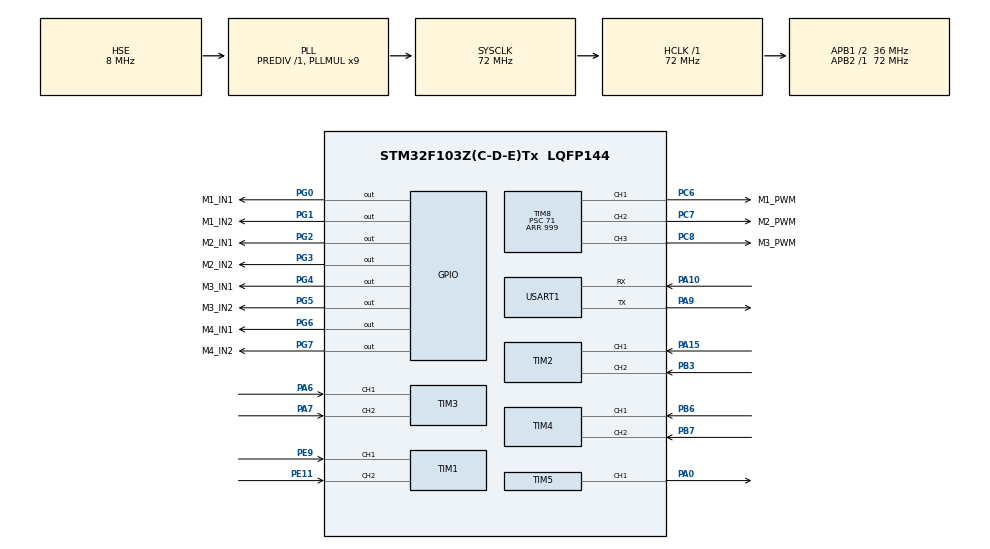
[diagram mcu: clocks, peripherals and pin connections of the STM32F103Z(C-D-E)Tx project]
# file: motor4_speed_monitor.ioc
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FREERTOS.Tasks01=defaultTask,24,128,StartDefaultTask,Default,NULL,Dynamic,NULL,NULL;MotorTask,32,256,StartMotorTask,Default,NULL,Dynamic,NULL,NULL;uartTask,8,256,StartUartTask,Default,NULL,Dynamic,NULL,NULL
Mcu.Family=STM32F1
Mcu.Name=STM32F103Z(C-D-E)Tx
Mcu.Package=LQFP144
NVIC.PriorityGroup=NVIC_PRIORITYGROUP_4
NVIC.TIM6_IRQn=true\:5\:0\:false\:false\:true\:true\:true\:true\:true
NVIC.TIM7_IRQn=true\:15\:0\:false\:false\:true\:false\:false\:true\:true
NVIC.TimeBase=TIM7_IRQn
NVIC.TimeBaseIP=TIM7
OSC_IN.Mode=HSE-External-Oscillator
OSC_IN.Signal=RCC_OSC_IN
OSC_OUT.Mode=HSE-External-Oscillator
OSC_OUT.Signal=RCC_OSC_OUT
PA0-WKUP.Signal=S_TIM5_CH1
PA10.Mode=Asynchronous
PA10.Signal=USART1_RX
PA13.Mode=Serial_Wire
PA13.Signal=SYS_JTMS-SWDIO
PA14.Mode=Serial_Wire
PA14.Signal=SYS_JTCK-SWCLK
PA15.Signal=S_TIM2_CH1_ETR
PA6.Signal=S_TIM3_CH1
PA7.Signal=S_TIM3_CH2
PA9.Mode=Asynchronous
PA9.Signal=USART1_TX
PB3.Signal=S_TIM2_CH2
PB6.Signal=S_TIM4_CH1
PB7.Signal=S_TIM4_CH2
PC14-OSC32_IN.Mode=LSE-External-Oscillator
PC14-OSC32_IN.Signal=RCC_OSC32_IN
PC15-OSC32_OUT.Mode=LSE-External-Oscillator
PC15-OSC32_OUT.Signal=RCC_OSC32_OUT
PC6.GPIO_Label=M1_PWM
PC6.GPIO_Speed=GPIO_SPEED_FREQ_HIGH
PC6.Signal=S_TIM8_CH1
PC7.GPIO_Label=M2_PWM
PC7.GPIO_Speed=GPIO_SPEED_FREQ_HIGH
PC7.Signal=S_TIM8_CH2
PC8.GPIO_Label=M3_PWM
PC8.GPIO_Speed=GPIO_SPEED_FREQ_HIGH
PC8.Signal=S_TIM8_CH3
PE11.Signal=S_TIM1_CH2
PE9.Signal=S_TIM1_CH1
PG0.GPIO_Label=M1_IN1
PG0.Signal=GPIO_Output
PG1.GPIO_Label=M1_IN2
PG1.Signal=GPIO_Output
PG2.GPIO_Label=M2_IN1
PG2.Signal=GPIO_Output
PG3.GPIO_Label=M2_IN2
PG3.Signal=GPIO_Output
PG4.GPIO_Label=M3_IN1
PG4.Signal=GPIO_Output
PG5.GPIO_Label=M3_IN2
PG5.Signal=GPIO_Output
PG6.GPIO_Label=M4_IN1
PG6.Signal=GPIO_Output
PG7.GPIO_Label=M4_IN2
PG7.Signal=GPIO_Output
ProjectManager.HeapSize=0x200
ProjectManager.StackSize=0x400
ProjectManager.TargetToolchain=STM32CubeIDE
RCC.AHBFreq_Value=72000000
RCC.APB1CLKDivider=RCC_HCLK_DIV2
RCC.APB1Freq_Value=36000000
RCC.APB1TimFreq_Value=72000000
RCC.APB2Freq_Value=72000000
RCC.APB2TimFreq_Value=72000000
RCC.HCLKFreq_Value=72000000
RCC.PLLMUL=RCC_PLL_MUL9
RCC.PLLSourceVirtual=RCC_PLLSOURCE_HSE
RCC.SYSCLKFreq_VALUE=72000000
RCC.SYSCLKSource=RCC_SYSCLKSOURCE_PLLCLK
RCC.USBFreq_Value=72000000
SH.S_TIM1_CH1.0=TIM1_CH1,Encoder_Interface
SH.S_TIM1_CH2.0=TIM1_CH2,Encoder_Interface
SH.S_TIM2_CH1_ETR.0=TIM2_CH1,Encoder_Interface
SH.S_TIM2_CH2.0=TIM2_CH2,Encoder_Interface
SH.S_TIM3_CH1.0=TIM3_CH1,Encoder_Interface
SH.S_TIM3_CH2.0=TIM3_CH2,Encoder_Interface
SH.S_TIM4_CH1.0=TIM4_CH1,Encoder_Interface
SH.S_TIM4_CH2.0=TIM4_CH2,Encoder_Interface
SH.S_TIM5_CH1.0=TIM5_CH1,PWM Generation1 CH1
SH.S_TIM8_CH1.0=TIM8_CH1,PWM Generation1 CH1
SH.S_TIM8_CH2.0=TIM8_CH2,PWM Generation2 CH2
SH.S_TIM8_CH3.0=TIM8_CH3,PWM Generation3 CH3
TIM1.EncoderMode=TIM_ENCODERMODE_TI12
TIM1.IC1Filter=4
TIM1.IC2Filter=4
TIM2.EncoderMode=TIM_ENCODERMODE_TI12
TIM2.IC1Filter=4
TIM2.IC2Filter=4
TIM3.EncoderMode=TIM_ENCODERMODE_TI12
TIM3.IC1Filter=4
TIM3.IC2Filter=4
TIM4.EncoderMode=TIM_ENCODERMODE_TI12
TIM4.IC1Filter=4
TIM4.IC2Filter=4
TIM5.Channel-PWM\ Generation1\ CH1=TIM_CHANNEL_1
TIM5.Period=999
TIM5.Prescaler=71
TIM6.AutoReloadPreload=TIM_AUTORELOAD_PRELOAD_ENABLE
TIM6.Period=999
TIM6.Prescaler=7199
TIM8.AutoReloadPreload=TIM_AUTORELOAD_PRELOAD_ENABLE
TIM8.Channel-PWM\ Generation1\ CH1=TIM_CHANNEL_1
TIM8.Channel-PWM\ Generation2\ CH2=TIM_CHANNEL_2
TIM8.Channel-PWM\ Generation3\ CH3=TIM_CHANNEL_3
TIM8.Period=999
TIM8.Prescaler=71
USART1.VirtualMode=VM_ASYNC
VP_FREERTOS_VS_CMSIS_V2.Mode=CMSIS_V2
VP_SYS_VS_tim7.Mode=TIM7
VP_TIM5_VS_ClockSourceINT.Mode=Internal
VP_TIM6_VS_ClockSourceINT.Mode=Enable_Timer
VP_TIM8_VS_ClockSourceINT.Mode=Internal
board=custom

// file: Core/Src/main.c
/* USER CODE BEGIN Header */
/**
  ******************************************************************************
  * @file           : main.c
  * @brief          : Main program body
  ******************************************************************************
  * @attention
  *
  * Copyright (c) 2026 STMicroelectronics.
  * All rights reserved.
  *
  * This software is licensed under terms that can be found in the LICENSE file
  * in the root directory of this software component.
  * If no LICENSE file comes with this software, it is provided AS-IS.
  *
  ******************************************************************************
  */
/* USER CODE END Header */
#include "main.h"
#include "cmsis_os.h"
#include "tim.h"
#include "usart.h"
#include "gpio.h"

/* USER CODE BEGIN Includes */
#include<stdio.h>
#include<stdlib.h>
#include "motor.h"
/* USER CODE END Includes */

/* USER CODE BEGIN PV */
/* USER CODE BEGIN PV */

/* =========================================
 * 控制参数
 * ========================================= */

/* 控制周期 = 100ms */

/* USER CODE END PV */

void SystemClock_Config(void);
void MX_FREERTOS_Init(void);
/* USER CODE BEGIN PFP */
/* USER CODE BEGIN PFP */

void Send_Control_Data(void);

/* USER CODE END PFP */

int main(void)
{

  /* MCU Configuration--------------------------------------------------------*/

  /* Reset of all peripherals, Initializes the Flash interface and the Systick. */
  HAL_Init();

  /* Configure the system clock */
  SystemClock_Config();

  /* Initialize all configured peripherals */
  MX_GPIO_Init();
  MX_TIM1_Init();
  MX_TIM2_Init();
  MX_TIM3_Init();
  MX_TIM4_Init();
  MX_TIM6_Init();
  MX_TIM8_Init();
  MX_USART1_UART_Init();
  MX_TIM5_Init();
  /* USER CODE BEGIN 2 */
  /* USER CODE BEGIN 2 */

  /* =========================
     1. 启动四个编码器
     ========================= */

   Motor_Init();

  /* =========================
     6. 启动100ms测速中断
     =========================

  HAL_TIM_Base_Start_IT(&htim6);
  */

  /* =========================
     7. 给电脑发一句启动提示
     ========================= */

  char start_msg[] = "\r\nMotor speed monitor started!\r\n";

  HAL_UART_Transmit(&huart1,
                    (uint8_t *)start_msg,
                    sizeof(start_msg) - 1,
                    100);

  /* =========================
     8. 暂时先让四台电机30% PWM
     ARR = 999
     所以300约等于30%
     ========================= */

  /* USER CODE END 2 */

  /* Init scheduler */
  osKernelInitialize();  /* Call init function for freertos objects (in cmsis_os2.c) */
  MX_FREERTOS_Init();

  /* Start scheduler */
  osKernelStart();

  /* We should never get here as control is now taken by the scheduler */

  /* Infinite loop */
  while (1)
  {

    /* USER CODE BEGIN 3 */
	  /* USER CODE BEGIN 3 */

  }
  /* USER CODE END 3 */
}

void SystemClock_Config(void)
{
  RCC_OscInitTypeDef RCC_OscInitStruct = {0};
  RCC_ClkInitTypeDef RCC_ClkInitStruct = {0};

  /** Initializes the RCC Oscillators according to the specified parameters
  * in the RCC_OscInitTypeDef structure.
  */
  RCC_OscInitStruct.OscillatorType = RCC_OSCILLATORTYPE_HSE;
  RCC_OscInitStruct.HSEState = RCC_HSE_ON;
  RCC_OscInitStruct.HSEPredivValue = RCC_HSE_PREDIV_DIV1;
  RCC_OscInitStruct.HSIState = RCC_HSI_ON;
  RCC_OscInitStruct.PLL.PLLState = RCC_PLL_ON;
  RCC_OscInitStruct.PLL.PLLSource = RCC_PLLSOURCE_HSE;
  RCC_OscInitStruct.PLL.PLLMUL = RCC_PLL_MUL9;
  if (HAL_RCC_OscConfig(&RCC_OscInitStruct) != HAL_OK)
  {
    Error_Handler();
  }

  /** Initializes the CPU, AHB and APB buses clocks
  */
  RCC_ClkInitStruct.ClockType = RCC_CLOCKTYPE_HCLK|RCC_CLOCKTYPE_SYSCLK
                              |RCC_CLOCKTYPE_PCLK1|RCC_CLOCKTYPE_PCLK2;
  RCC_ClkInitStruct.SYSCLKSource = RCC_SYSCLKSOURCE_PLLCLK;
  RCC_ClkInitStruct.AHBCLKDivider = RCC_SYSCLK_DIV1;
  RCC_ClkInitStruct.APB1CLKDivider = RCC_HCLK_DIV2;
  RCC_ClkInitStruct.APB2CLKDivider = RCC_HCLK_DIV1;

  if (HAL_RCC_ClockConfig(&RCC_ClkInitStruct, FLASH_LATENCY_2) != HAL_OK)
  {
    Error_Handler();
  }
}

/* USER CODE BEGIN 4 */
/* USER CODE BEGIN 4 */
void Send_Control_Data(void)
{
    char buf[200];

    int len =
        snprintf(
            buf,
            sizeof(buf),

            "T:%d | "
            "M1:%d P1:%u | "
            "M2:%d P2:%u | "
            "M3:%d P3:%u | "
            "M4:%d P4:%u\r\n",

            (int)Motor_GetTargetCount(),

            Motor_GetCount(1),
            Motor_GetPWM(1),

            Motor_GetCount(2),
            Motor_GetPWM(2),

            Motor_GetCount(3),
            Motor_GetPWM(3),

            Motor_GetCount(4),
            Motor_GetPWM(4));

    HAL_UART_Transmit(
        &huart1,
        (uint8_t *)buf,
        len,
        100);
}

/* ============================================================
   电机PWM控制
   pwm范围：0 ~ 999
   ============================================================ */

/* ============================================================
   TIM6每100ms调用一次

   做的事情：

   1. 读取四个编码器
   2. 保存100ms内计数
   3. 把计数器重新清零
   4. 告诉main()：有新数据了
   ============================================================ */

/* USER CODE END 4 */

void HAL_TIM_PeriodElapsedCallback(TIM_HandleTypeDef *htim)
{
  if (htim->Instance == TIM7)
  {
    HAL_IncTick();
  }
}

void Error_Handler(void)
{
  __disable_irq();
  while (1)
  {
  }
}

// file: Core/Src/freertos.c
/* USER CODE BEGIN Header */
/**
  ******************************************************************************
  * File Name          : freertos.c
  * Description        : Code for freertos applications
  ******************************************************************************
  * @attention
  *
  * Copyright (c) 2026 STMicroelectronics.
  * All rights reserved.
  *
  * This software is licensed under terms that can be found in the LICENSE file
  * in the root directory of this software component.
  * If no LICENSE file comes with this software, it is provided AS-IS.
  *
  ******************************************************************************
  */
/* USER CODE END Header */

#include "FreeRTOS.h"
#include "task.h"
#include "main.h"
#include "cmsis_os.h"

/* USER CODE BEGIN Includes */
/* USER CODE BEGIN Includes */

#include "motor.h"
#include "usart.h"
#include <stdio.h>
#include "robot.h"
/* USER CODE END Includes */

/* USER CODE BEGIN Variables */
static uint8_t uart_rx_byte;

static volatile uint8_t uart_last_cmd = 0;

static volatile uint8_t uart_cmd_ready = 0;
/* USER CODE END Variables */
/* Definitions for defaultTask */
osThreadId_t defaultTaskHandle;
const osThreadAttr_t defaultTask_attributes = {
  .name = "defaultTask",
  .stack_size = 128 * 4,
  .priority = (osPriority_t) osPriorityNormal,
};
/* Definitions for MotorTask */
osThreadId_t MotorTaskHandle;
const osThreadAttr_t MotorTask_attributes = {
  .name = "MotorTask",
  .stack_size = 256 * 4,
  .priority = (osPriority_t) osPriorityAboveNormal,
};
/* Definitions for uartTask */
osThreadId_t uartTaskHandle;
const osThreadAttr_t uartTask_attributes = {
  .name = "uartTask",
  .stack_size = 256 * 4,
  .priority = (osPriority_t) osPriorityLow,
};

void StartDefaultTask(void *argument);
void StartMotorTask(void *argument);
void StartUartTask(void *argument);

void MX_FREERTOS_Init(void); /* (MISRA C 2004 rule 8.1) */

void MX_FREERTOS_Init(void) {

  /* Create the thread(s) */
  /* creation of defaultTask */
  defaultTaskHandle = osThreadNew(StartDefaultTask, NULL, &defaultTask_attributes);

  /* creation of MotorTask */
  MotorTaskHandle = osThreadNew(StartMotorTask, NULL, &MotorTask_attributes);

  /* creation of uartTask */
  uartTaskHandle = osThreadNew(StartUartTask, NULL, &uartTask_attributes);

}

void StartDefaultTask(void *argument)
{
    /* 开始等待USART1接收1个字节 */
    HAL_UART_Receive_IT(
        &huart1,
        &uart_rx_byte,
        1
    );

    for (;;)
    {
        if (uart_cmd_ready)
        {
            uint8_t cmd = uart_last_cmd;

            uart_cmd_ready = 0;

            switch (cmd)
            {
                /* 前进 */
                case 'W':
                case 'w':
                    Robot_Forward(150);
                    break;

                /* 后退 */
                case 'S':
                case 's':
                    Robot_Backward(150);
                    break;

                /* 左移 */
                case 'A':
                case 'a':
                    Robot_Left(150);
                    break;

                /* 右移 */
                case 'D':
                case 'd':
                    Robot_Right(150);
                    break;

                /* 原地左转 */
                case 'Q':
                case 'q':
                    Robot_TurnLeft(150);
                    break;

                /* 原地右转 */
                case 'E':
                case 'e':
                    Robot_TurnRight(150);
                    break;

                /* 停止 */
                case 'X':
                case 'x':
                    Robot_Stop();
                    break;

                default:
                    break;
            }
        }

        osDelay(5);
    }
}

void StartMotorTask(void *argument)
{
    TickType_t lastWakeTime;

    lastWakeTime = xTaskGetTickCount();

    for (;;)
    {
        /* 每100ms执行一次完整电机闭环控制 */
        Motor_ControlStep();

        vTaskDelayUntil(
            &lastWakeTime,
            pdMS_TO_TICKS(100)
        );
    }
}

void StartUartTask(void *argument)
{
  for(;;)
  {
    osDelay(1);
  }
}

/* USER CODE BEGIN Application */
void HAL_UART_RxCpltCallback(
    UART_HandleTypeDef *huart)
{
    if (huart->Instance == USART1)
    {
        /* 保存刚才收到的字符 */
        uart_last_cmd = uart_rx_byte;

        /* 告诉CommandTask有新命令 */
        uart_cmd_ready = 1;

        /* 非常重要：
         * 接完一个字节以后，
         * 马上继续等待下一个字节
         */
        HAL_UART_Receive_IT(
            &huart1,
            &uart_rx_byte,
            1
        );
    }
}
/* USER CODE END Application */
